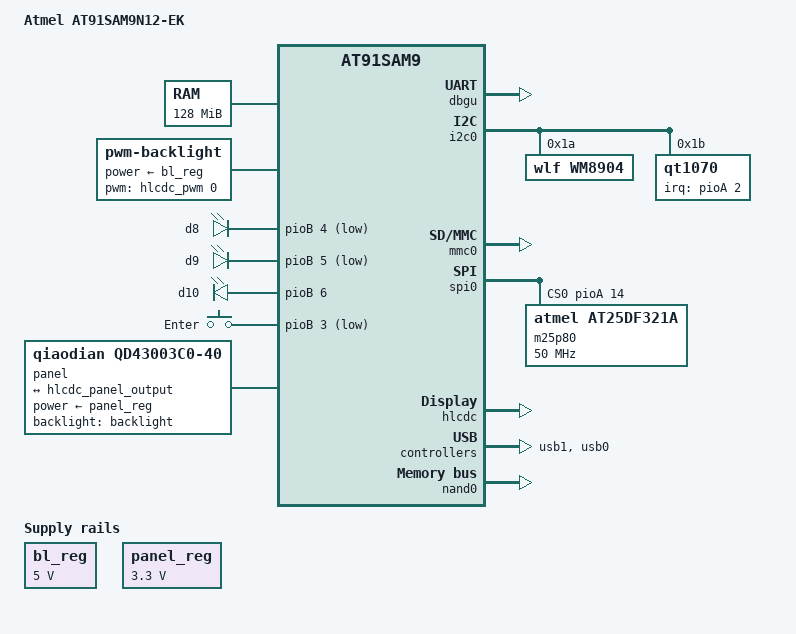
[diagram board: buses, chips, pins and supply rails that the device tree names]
/*
 * at91sam9n12ek.dts - Device Tree file for AT91SAM9N12-EK board
 *
 *  Copyright (C) 2012 Atmel,
 *                2012 Hong Xu <hong.xu@atmel.com>
 *
 * Licensed under GPLv2 or later.
 */
/dts-v1/;
#include "at91sam9n12.dtsi"

/ {
	model = "Atmel AT91SAM9N12-EK";
	compatible = "atmel,at91sam9n12ek", "atmel,at91sam9n12", "atmel,at91sam9";

	chosen {
		bootargs = "root=/dev/mtdblock1 rw rootfstype=jffs2";
		stdout-path = "serial0:115200n8";
	};

	memory {
		reg = <0x20000000 0x8000000>;
	};

	clocks {
		slow_xtal {
			clock-frequency = <32768>;
		};

		main_xtal {
			clock-frequency = <16000000>;
		};
	};

	ahb {
		apb {
			dbgu: serial@fffff200 {
				status = "okay";
			};

			ssc0: ssc@f0010000 {
				status = "okay";
			};

			i2c0: i2c@f8010000 {
				status = "okay";

				wm8904: codec@1a {
					compatible = "wlf,wm8904";
					reg = <0x1a>;
					clocks = <&pck0>;
					clock-names = "mclk";
				};

				qt1070: keyboard@1b {
					compatible = "qt1070";
					reg = <0x1b>;
					interrupt-parent = <&pioA>;
					interrupts = <2 IRQ_TYPE_EDGE_FALLING>;
					pinctrl-names = "default";
					pinctrl-0 = <&pinctrl_qt1070_irq>;
				};
			};

			mmc0: mmc@f0008000 {
				pinctrl-0 = <
					&pinctrl_board_mmc0
					&pinctrl_mmc0_slot0_clk_cmd_dat0
					&pinctrl_mmc0_slot0_dat1_3>;
				status = "okay";
				slot@0 {
					reg = <0>;
					bus-width = <4>;
					cd-gpios = <&pioA 7 GPIO_ACTIVE_HIGH>;
				};
			};

			pinctrl@fffff400 {
				mmc0 {
					pinctrl_board_mmc0: mmc0-board {
						atmel,pins =
							<AT91_PIOA 7 AT91_PERIPH_GPIO AT91_PINCTRL_PULL_UP_DEGLITCH>;	/* PA7 gpio CD pin pull up and deglitch */
					};
				};

				qt1070 {
					pinctrl_qt1070_irq: qt1070_irq {
						atmel,pins =
							<AT91_PIOA 2 AT91_PERIPH_GPIO AT91_PINCTRL_PULL_UP_DEGLITCH>;
					};
				};

				sound {
					pinctrl_pck0_as_audio_mck: pck0_as_audio_mck {
						atmel,pins =
							<AT91_PIOB 10 AT91_PERIPH_B AT91_PINCTRL_NONE>;
					};
				};

				usb1 {
					pinctrl_usb1_vbus_sense: usb1_vbus_sense {
						atmel,pins =
							<AT91_PIOB 16 AT91_PERIPH_GPIO AT91_PINCTRL_DEGLITCH>;	/* PB16 gpio usb vbus sense, no pull up and deglitch */
					};
				};
			};

			spi0: spi@f0000000 {
				status = "okay";
				cs-gpios = <&pioA 14 0>, <0>, <0>, <0>;
				m25p80@0 {
					compatible = "atmel,at25df321a";
					spi-max-frequency = <50000000>;
					reg = <0>;
				};
			};

			hlcdc: hlcdc@f8038000 {
				status = "okay";

				hlcdc-display-controller {
					pinctrl-names = "default";
					pinctrl-0 = <&pinctrl_lcd_base &pinctrl_lcd_rgb888>;

					port@0 {
						hlcdc_panel_output: endpoint@0 {
							reg = <0>;
							remote-endpoint = <&panel_input>;
						};
					};
				};
			};

			usb1: gadget@f803c000 {
				pinctrl-names = "default";
				pinctrl-0 = <&pinctrl_usb1_vbus_sense>;
				atmel,vbus-gpio = <&pioB 16 GPIO_ACTIVE_HIGH>;
				status = "okay";
			};

			watchdog@fffffe40 {
				status = "okay";
			};

			rtc@fffffeb0 {
				status = "okay";
			};
		};

		nand0: nand@40000000 {
			nand-bus-width = <8>;
			nand-ecc-mode = "hw";
			atmel,has-pmecc;
			atmel,pmecc-cap = <2>;
			atmel,pmecc-sector-size = <512>;
			nand-on-flash-bbt;
			status = "okay";
		};

		usb0: ohci@00500000 {
			num-ports = <1>;
			atmel,vbus-gpio = <&pioB 7 GPIO_ACTIVE_LOW>;
			status = "okay";
		};
	};

	backlight: backlight {
		compatible = "pwm-backlight";
		pwms = <&hlcdc_pwm 0 50000 0>;
		brightness-levels = <0 4 8 16 32 64 128 255>;
		default-brightness-level = <6>;
		power-supply = <&bl_reg>;
		status = "okay";
	};

	bl_reg: backlight_regulator {
		compatible = "regulator-fixed";
		regulator-name = "backlight-power-supply";
		regulator-min-microvolt = <5000000>;
		regulator-max-microvolt = <5000000>;
		status = "okay";
	};

	leds {
		compatible = "gpio-leds";

		d8 {
			label = "d8";
			gpios = <&pioB 4 GPIO_ACTIVE_LOW>;
			linux,default-trigger = "mmc0";
		};

		d9 {
			label = "d9";
			gpios = <&pioB 5 GPIO_ACTIVE_LOW>;
			linux,default-trigger = "nand-disk";
		};

		d10 {
			label = "d10";
			gpios = <&pioB 6 GPIO_ACTIVE_HIGH>;
			linux,default-trigger = "heartbeat";
		};
	};

	gpio_keys {
		compatible = "gpio-keys";

		enter {
			label = "Enter";
			gpios = <&pioB 3 GPIO_ACTIVE_LOW>;
			linux,code = <28>;
			wakeup-source;
		};
	};

	panel: panel {
		compatible = "qiaodian,qd43003c0-40", "simple-panel";
		backlight = <&backlight>;
		power-supply = <&panel_reg>;
		#address-cells = <1>;
		#size-cells = <0>;
		status = "okay";

		port@0 {
			reg = <0>;
			#address-cells = <1>;
			#size-cells = <0>;

			panel_input: endpoint@0 {
				reg = <0>;
				remote-endpoint = <&hlcdc_panel_output>;
			};
		};
	};

	panel_reg: panel_regulator {
		compatible = "regulator-fixed";
		regulator-name = "panel-power-supply";
		regulator-min-microvolt = <3300000>;
		regulator-max-microvolt = <3300000>;
		status = "okay";
	};

	sound {
		compatible = "atmel,asoc-wm8904";
		pinctrl-names = "default";
		pinctrl-0 = <&pinctrl_pck0_as_audio_mck>;

		atmel,model = "wm8904 @ AT91SAM9N12";
		atmel,audio-routing =
			"Headphone Jack", "HPOUTL",
			"Headphone Jack", "HPOUTR",
			"IN2L", "Line In Jack",
			"IN2R", "Line In Jack",
			"Mic", "MICBIAS",
			"IN1L", "Mic";

		atmel,ssc-controller = <&ssc0>;
		atmel,audio-codec = <&wm8904>;
	};
};
